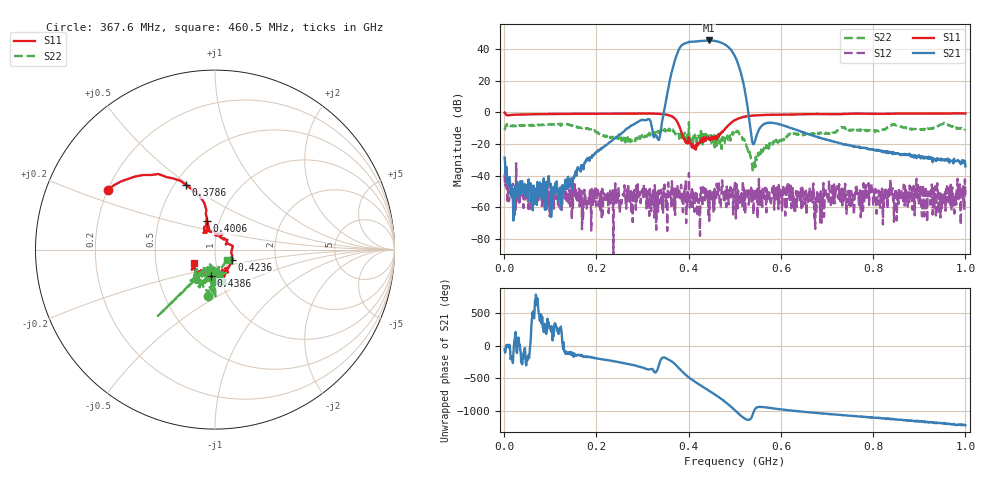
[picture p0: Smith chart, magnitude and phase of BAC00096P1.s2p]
!measured: 2026-10-29T11:24:21
!cal_instance: BB
!cal_created: 2026-10-29T10:46
!cal_file: SOLT_12_1_00M-1_00G_1001pt.cal
!port1_delay_ps: 0.0
!port2_delay_ps: 0.0
!host: lindon
! Created with skrf 2.1.0 (http://scikit-rf.org).
# Hz S RI R 50.0
!freq ReS11 ImS11 ReS21 ImS21 ReS12 ImS12 ReS22 ImS22
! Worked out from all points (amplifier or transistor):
!   1001 points, 1 MHz to 1 GHz, reference 50 ohm
!   highest |S21| = 45.5 dB at 443.6 MHz (marker M1)
!   |S21| within 3 dB of that: 385.3 MHz to 481.1 MHz (95.85 MHz wide, 22.1 % of centre)
!   unconditionally stable (mu >= 1): start of sweep to 393 MHz; 401 MHz to 460.4 MHz; 500.5 MHz to end of sweep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
!   at 166.8 MHz: K = 1857.56, MAG = -25.8 dB, |S12| = -53.2 dB
!   at 500.5 MHz: K = 0.96, MSG = 40.0 dB, |S12| = -44.6 dB
!   at 1 GHz: K = 1417.22, MAG = -25.4 dB, |S12| = -52.3 dB
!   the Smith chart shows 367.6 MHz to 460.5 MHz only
!   S11 on the Smith chart (normalised r, x): 367.6 MHz: 0.20, +0.25; 378.6 MHz: 0.57, +0.49; 400.6 MHz: 0.87, +0.28; 423.6 MHz: 1.20, -0.14; 438.6 MHz: 0.92, -0.27; 460.5 MHz: 0.78, -0.12
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1000000  -0.3367 0.9254  0.0229 -0.0298  -0.0111 0.0019  0.2694 -0.0519
1.67833e8  0.5553 -0.7047  -0.0168 -0.00582  9.84e-05 -0.00331  0.00379 -0.3178
3.34666e8  -0.7269 -0.5299  0.1084 0.0795  0.00223 0.00255  0.0647 -0.222
3.67633e8  -0.5977 0.3339  -2.895 32.42  0.00287 0.00346  -0.0416 -0.2559
3.78622e8  -0.1607 0.3603  92.03 25.27  0.00214 0.00144  -0.113 -0.1795
3.86614e8  -0.0468 0.185  101.9 -92.86  0.00073 -0.00197  -0.1056 -0.186
3.93607e8  -0.0642 0.0921  1.323 -154  -0.000189 0.00664  0.0032 -0.1396
4.006e8  -0.0433 0.1582  -112.1 -128.9  0.0121 7.47e-05  -0.3181 -0.3697
4.11589e8  0.042 0.0604  -171.6 15.36  -0.00214 -0.000591  0.00433 -0.1826
4.23577e8  0.0939 -0.0577  -89.76 155.1  0.000651 0.000622  0.0133 -0.1672
4.38562e8  -0.0219 -0.1461  108.1 150.3  -0.000673 -0.00183  -0.0265 -0.1768
4.43557e8  -0.0536 -0.1323  159.1 99.21  -0.00112 -0.00226  -0.0447 -0.1304
4.51549e8  -0.0779 -0.1395  184.4 -14.8  -0.00066 0.00223  0.033 -0.1852
4.6054e8  -0.119 -0.0741  119.1 -130.3  -0.000104 -0.00558  0.0653 -0.0586
4.7053e8  -0.2291 -0.0235  -21.03 -158.5  -0.000599 0.00224  0.00396 -0.1053
4.81519e8  -0.2631 0.1992  -120.9 -51.76  0.000851 0.00055  0.0532 -0.1282
4.91509e8  -0.1433 0.4385  -76.34 57.67  -0.00172 0.00115  -0.00324 -0.1715
5.005e8  0.0878 0.5582  5.017 58.37  -0.00463 -0.00369  -0.1077 -0.2312
5.18482e8  0.5598 0.445  7.706 -3.813  -0.00235 -0.00351  -0.1204 -0.0699
6.67333e8  0.3525 -0.8119  0.1195 0.147  0.00141 -0.00103  0.1225 -0.1671
8.34166e8  -0.1847 -0.88  0.0372 -0.0422  -0.000133 0.00372  0.00475 -0.3702
1e9  -0.5293 -0.7565  -0.0165 -0.0107  -0.000716 0.0023  -0.0778 -0.2857
